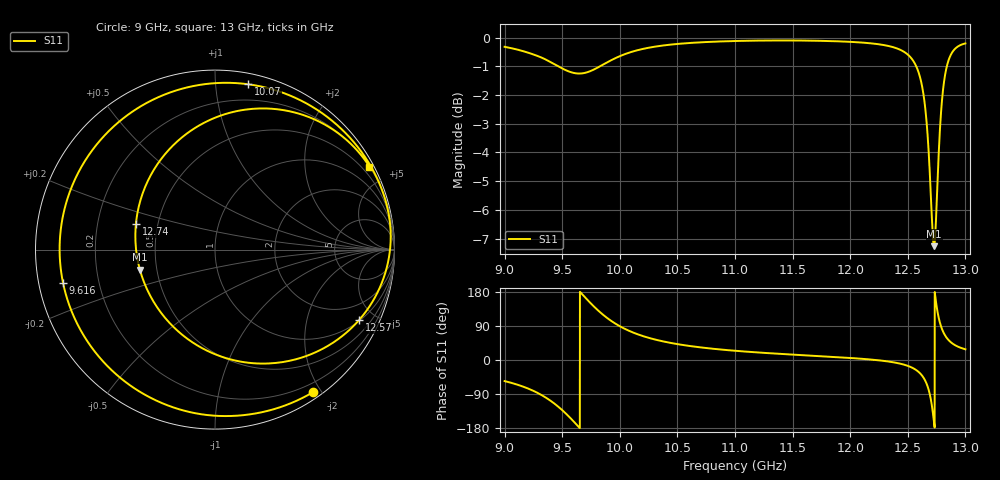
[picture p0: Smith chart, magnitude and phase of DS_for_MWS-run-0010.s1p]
! TOUCHSTONE file generated by CST DESIGN STUDIO
! Date and time: Tue Feb  4 16:06:25 2025
! Project name: C:\Work\MatlabApps\UnitCellOptimizationMatlab\CST\unitcell.cst
! Tree item: Tasks\Sweep1\SPara1\S-Parameters
! Header version: 2024
! Port assignment regex: !\s*Touchstone port\s*([0-9]+)\s*=\s*(CST MWS port|CST DES external port|CST DES block port)\s*(.+)\s* \(\"(.*)\"\)(\s*mode\s*([0-9]+))?.*
! Touchstone port assignment:
! Touchstone port 1 = CST DES external port 1 ("")
# GHz S MA R 50
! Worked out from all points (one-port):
!   4001 points, 9 GHz to 13 GHz, reference 50 ohm
!   lowest |S11| = -7.3 dB at 12.73 GHz (marker M1), VSWR 2.53, Z = 20.1 - j5.53 ohm
!   |S11| at or under -10 dB: nowhere
!   S11 on the Smith chart (normalised r, x): 9 GHz: 0.08, -1.89; 9.616 GHz: 0.07, -0.11; 10.07 GHz: 0.08, +1.22; 12.57 GHz: 1.04, -4.06; 12.74 GHz: 0.37, +0.14; 13 GHz: 0.20, +3.96
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9  0.9637 -55.6
9.167  0.9462 -71.0
9.319  0.9233 -92.2
9.5  0.8836 -132.3
9.616  0.8667 -167.6
9.708  0.8692 162.1
9.815  0.8883 129.8
9.901  0.9079 108.4
10  0.9282 89.1
10.069  0.9396 78.5
10.259  0.9609 57.8
10.5  0.9748 41.9
11  0.9864 24.4
11.5  0.9885 14.2
12  0.9831 5.4
12.314  0.9686 -3.2
12.5  0.9341 -15.5
12.571  0.8932 -26.1
12.63  0.8103 -43.7
12.676  0.6578 -73.4
12.702  0.5206 -107.1
12.728  0.4332 -165.0
12.741  0.4633 162.0
12.773  0.6568 105.4
12.806  0.8114 75.1
12.84  0.8932 57.6
12.88  0.9386 45.3
13  0.9769 28.3
